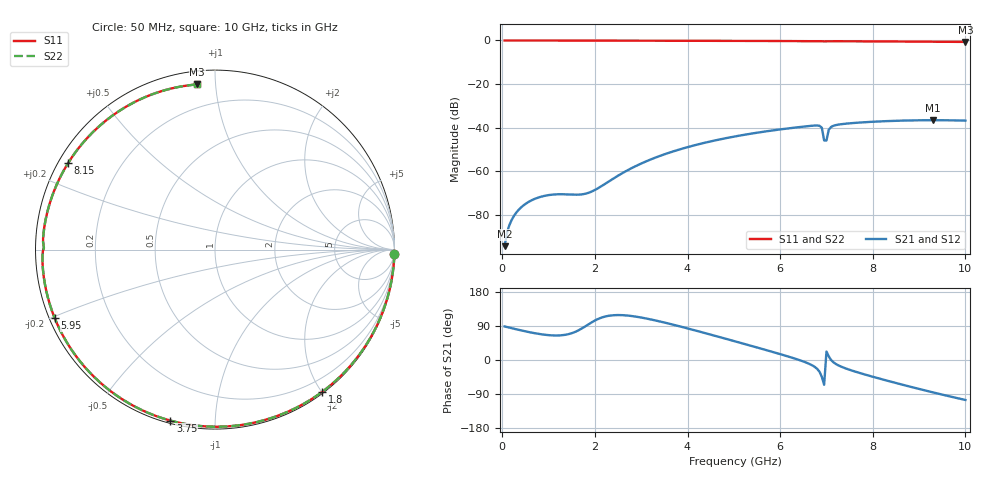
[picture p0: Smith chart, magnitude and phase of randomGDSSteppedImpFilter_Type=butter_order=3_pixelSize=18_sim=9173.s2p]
! freq	dB(S11)	phase(S11)	dB(S12)	phase(S12)
!  dB(S21)	phase(S21)	dB(S22)	phase(S22)
!S-par simulation data
#  GHz  S  DB  R 50
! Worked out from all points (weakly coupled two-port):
!   200 points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, 50 MHz to 10 GHz, reference 50 ohm
!   highest |S21| = -36.61 dB at 9.3 GHz (marker M1); lowest = -94.4 dB at 50 MHz (marker M2)
!   lowest |S11| = -0.7 dB at 10 GHz (marker M3), VSWR 25.86, Z = 3.49 + j44.8 ohm
!   |S11| at or under -10 dB: nowhere
!   |S22| runs from -0.7 to 0.0 dB; largest |S21 - S12| = 0
!   S11 on the Smith chart (normalised r, x): 50 MHz: 0, -75; 1.8 GHz: 0.02, -2.00; 3.75 GHz: 0.01, -0.77; 5.95 GHz: 0.02, -0.20; 8.15 GHz: 0.03, +0.27; 10 GHz: 0.07, +0.90
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0.05  -0.00 -1.5  -94.43 88.6  -94.43 88.6  -0.00 -1.5
0.25  -0.01 -7.6  -80.59 82.5  -80.59 82.5  -0.01 -7.6
0.5  -0.02 -15.1  -75.04 75.6  -75.04 75.6  -0.02 -15.1
0.85  -0.03 -25.5  -71.65 67.7  -71.65 67.7  -0.03 -25.5
1.75  -0.06 -51.6  -70.54 85.6  -70.54 85.6  -0.06 -51.6
1.8  -0.07 -53.0  -70.32 89.4  -70.32 89.4  -0.07 -53.0
2.05  -0.08 -60.0  -68.05 107.2  -68.05 107.2  -0.08 -60.0
2.6  -0.10 -75.0  -60.82 118.3  -60.82 118.3  -0.10 -75.0
3.4  -0.12 -95.8  -53.03 101.8  -53.03 101.8  -0.12 -95.8
3.75  -0.13 -104.6  -50.53 91.3  -50.53 91.3  -0.13 -104.6
5.05  -0.20 -135.8  -43.96 48.4  -43.96 48.4  -0.20 -135.8
5.95  -0.25 -156.9  -40.98 17.3  -40.98 17.3  -0.25 -156.9
6.7  -0.31 -174.6  -39.13 -14.6  -39.13 -14.6  -0.31 -174.6
6.9  -0.37 -179.5  -40.07 -44.5  -40.07 -44.5  -0.37 -179.5
6.95  -0.42 179.4  -45.92 -65.3  -45.92 -65.3  -0.41 179.4
7  -0.40 178.6  -45.91 22.4  -45.91 22.4  -0.40 178.6
7.05  -0.37 177.4  -40.96 9.4  -40.96 9.4  -0.37 177.4
7.15  -0.36 174.9  -39.17 -6.0  -39.17 -6.0  -0.36 174.9
8.15  -0.45 149.6  -37.16 -49.3  -37.16 -49.3  -0.45 149.6
8.35  -0.47 144.3  -36.99 -55.9  -36.99 -55.9  -0.47 144.3
9.3  -0.58 117.6  -36.61 -85.5  -36.61 -85.5  -0.58 117.6
10  -0.67 96.1  -36.79 -105.5  -36.79 -105.5  -0.67 96.1
